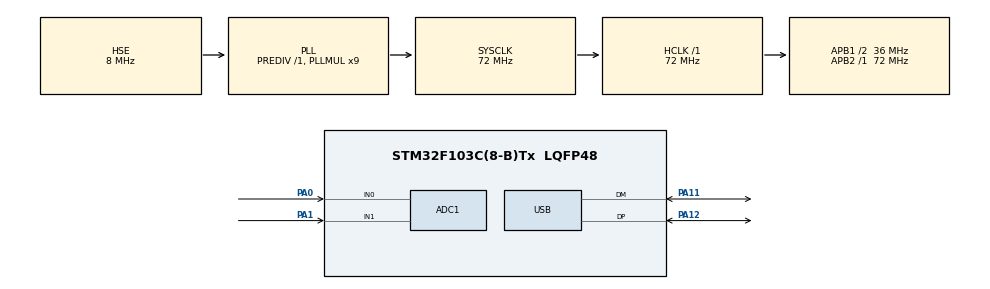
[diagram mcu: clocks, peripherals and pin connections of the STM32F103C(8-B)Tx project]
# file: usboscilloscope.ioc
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ADC1.Channel-2\#ChannelRegularConversion=ADC_CHANNEL_0
ADC1.Channel-3\#ChannelRegularConversion=ADC_CHANNEL_1
ADC1.ContinuousConvMode=ENABLE
ADC1.NbrOfConversion=2
ADC1.NbrOfConversionFlag=1
ADC1.Rank-2\#ChannelRegularConversion=1
ADC1.Rank-3\#ChannelRegularConversion=2
ADC1.SamplingTime-2\#ChannelRegularConversion=ADC_SAMPLETIME_13CYCLES_5
ADC1.SamplingTime-3\#ChannelRegularConversion=ADC_SAMPLETIME_13CYCLES_5
ADC1.master=1
Dma.ADC1.0.Direction=DMA_PERIPH_TO_MEMORY
Dma.ADC1.0.Instance=DMA1_Channel1
Dma.ADC1.0.MemDataAlignment=DMA_MDATAALIGN_HALFWORD
Dma.ADC1.0.MemInc=DMA_MINC_ENABLE
Dma.ADC1.0.Mode=DMA_CIRCULAR
Dma.ADC1.0.PeriphDataAlignment=DMA_PDATAALIGN_HALFWORD
Dma.ADC1.0.PeriphInc=DMA_PINC_DISABLE
Dma.ADC1.0.Priority=DMA_PRIORITY_LOW
Dma.Request0=ADC1
Mcu.Family=STM32F1
Mcu.Name=STM32F103C(8-B)Tx
Mcu.Package=LQFP48
NVIC.DMA1_Channel1_IRQn=true\:0\:0\:false\:false\:true\:false\:true\:true
NVIC.PriorityGroup=NVIC_PRIORITYGROUP_4
NVIC.TIM1_UP_IRQn=true\:15\:0\:false\:false\:true\:false\:true\:true
NVIC.TimeBase=TIM1_UP_IRQn
NVIC.TimeBaseIP=TIM1
NVIC.USB_LP_CAN1_RX0_IRQn=true\:4\:0\:true\:false\:true\:false\:true\:true
PA0-WKUP.Signal=ADCx_IN0
PA1.Signal=ADCx_IN1
PA11.Mode=Device
PA11.Signal=USB_DM
PA12.Mode=Device
PA12.Signal=USB_DP
PC14-OSC32_IN.Mode=LSE-External-Oscillator
PC14-OSC32_IN.Signal=RCC_OSC32_IN
PC15-OSC32_OUT.Mode=LSE-External-Oscillator
PC15-OSC32_OUT.Signal=RCC_OSC32_OUT
PD0-OSC_IN.Mode=HSE-External-Oscillator
PD0-OSC_IN.Signal=RCC_OSC_IN
PD1-OSC_OUT.Mode=HSE-External-Oscillator
PD1-OSC_OUT.Signal=RCC_OSC_OUT
ProjectManager.HeapSize=0x200
ProjectManager.StackSize=0x400
ProjectManager.TargetToolchain=STM32CubeIDE
RCC.ADCPresc=RCC_ADCPCLK2_DIV6
RCC.AHBFreq_Value=72000000
RCC.APB1CLKDivider=RCC_HCLK_DIV2
RCC.APB1Freq_Value=36000000
RCC.APB1TimFreq_Value=72000000
RCC.APB2Freq_Value=72000000
RCC.APB2TimFreq_Value=72000000
RCC.HCLKFreq_Value=72000000
RCC.PLLMUL=RCC_PLL_MUL9
RCC.PLLSourceVirtual=RCC_PLLSOURCE_HSE
RCC.SYSCLKFreq_VALUE=72000000
RCC.SYSCLKSource=RCC_SYSCLKSOURCE_PLLCLK
RCC.USBFreq_Value=48000000
RCC.USBPrescaler=RCC_USBCLKSOURCE_PLL_DIV1_5
SH.ADCx_IN0.0=ADC1_IN0,IN0
SH.ADCx_IN1.0=ADC1_IN1,IN1
USB_DEVICE.CLASS_NAME_FS=CDC
USB_DEVICE.CONFIGURATION_STRING_CDC_FS=YNSRC USB Config
USB_DEVICE.INTERFACE_STRING_CDC_FS=YNSRC USB Interface
USB_DEVICE.MANUFACTURER_STRING=YNSRC Electronics
USB_DEVICE.PRODUCT_STRING_CDC_FS=YNSRC USB Oscilloscope
USB_DEVICE.VID=2025
USB_DEVICE.VirtualMode=Cdc
USB_DEVICE.VirtualModeFS=Cdc_FS
VP_SYS_VS_ND.Mode=No_Debug
VP_SYS_VS_tim1.Mode=TIM1
VP_USB_DEVICE_VS_USB_DEVICE_CDC_FS.Mode=CDC_FS
board=custom

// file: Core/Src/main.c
/* USER CODE BEGIN Header */
/**
  ******************************************************************************
  * @file           : main.c
  * @brief          : Main program body
  ******************************************************************************
  * @attention
  *
  * Copyright (c) 2025 STMicroelectronics.
  * All rights reserved.
  *
  * This software is licensed under terms that can be found in the LICENSE file
  * in the root directory of this software component.
  * If no LICENSE file comes with this software, it is provided AS-IS.
  *
  ******************************************************************************
  */
/* USER CODE END Header */
#include "main.h"
#include "usb_device.h"

/* USER CODE BEGIN Includes */
#include "usbd_cdc_if.h"
#include <stdio.h>
#include <string.h>
/* USER CODE END Includes */

/* USER CODE BEGIN PD */
#define ADC_CHANNEL_COUNT 2
#define SYNC_WORD_HIGH    0xA5
#define SYNC_WORD_LOW     0xA5
#define TX_PACKET_SIZE    (2 + ADC_CHANNEL_COUNT * sizeof(uint16_t))
#define ADC_BUF_LEN (ADC_CHANNEL_COUNT * 2)
/* USER CODE END PD */

ADC_HandleTypeDef hadc1;
DMA_HandleTypeDef hdma_adc1;

/* USER CODE BEGIN PV */
volatile uint16_t adc_buf[ADC_BUF_LEN];
volatile uint8_t data_ready_flag = 0;
volatile uint16_t *data_to_send_ptr = NULL;

uint8_t usb_tx_buf[TX_PACKET_SIZE];
/* USER CODE END PV */

void SystemClock_Config(void);
static void MX_GPIO_Init(void);
static void MX_DMA_Init(void);
static void MX_ADC1_Init(void);

/* USER CODE BEGIN 0 */

/**
  * @brief  Conversion DMA half-transfer callback in non-blocking mode.
  * @param  hadc: ADC handle
  * @retval None
  */
void HAL_ADC_ConvHalfCpltCallback(ADC_HandleTypeDef* hadc)
{
	// Half of the buffer filled. Get ready to send the data in this area.
	data_to_send_ptr = (uint16_t *)adc_buf; // Beginning of the first half part
	data_ready_flag = 1; // Set the first half part ready flag
}

/**
  * @brief  Conversion complete callback in non-blocking mode.
  * @param  hadc: ADC handle
  * @retval None
  */
void HAL_ADC_ConvCpltCallback(ADC_HandleTypeDef* hadc)
{
	// The second half part of buffer filled (buffer filled). Get ready to send.
	data_to_send_ptr = (uint16_t *)&adc_buf[ADC_CHANNEL_COUNT]; // Beginning of the second half part
	data_ready_flag = 2; // Set the second half part ready flag
}

/**
  * @brief  ADC error callback in non-blocking mode
  * @param  hadc: ADC handle
  * @retval None
  */
void HAL_ADC_ErrorCallback(ADC_HandleTypeDef *hadc)
{
  // Error state. Blink a led or log the error.
  Error_Handler();
}

/* USER CODE END 0 */

int main(void)
{

  /* MCU Configuration--------------------------------------------------------*/

  /* Reset of all peripherals, Initializes the Flash interface and the Systick. */
  HAL_Init();

  /* Configure the system clock */
  SystemClock_Config();

  /* Initialize all configured peripherals */
  MX_GPIO_Init();
  MX_DMA_Init();
  MX_ADC1_Init();
  MX_USB_DEVICE_Init();
  /* USER CODE BEGIN 2 */

	// Calibrate ADC (Important! It must be every start to provide certainity)
	if (HAL_ADCEx_Calibration_Start(&hadc1) != HAL_OK)
	{
		Error_Handler();
	}

	// Start ADC with DMA Mode
	// Attention: Buffer size given as (ADC_BUF_LEN)
	if (HAL_ADC_Start_DMA(&hadc1, (uint32_t*)adc_buf, ADC_BUF_LEN) != HAL_OK)
	{
		Error_Handler();
	}

  /* USER CODE END 2 */

  /* Infinite loop */
  while (1)
  {

    /* USER CODE BEGIN 3 */

	// Check to send data
	if (data_ready_flag != 0 && data_to_send_ptr != NULL)
	{
		// Put the sync header to head of buffer
		usb_tx_buf[0] = SYNC_WORD_HIGH;
		usb_tx_buf[1] = SYNC_WORD_LOW;

		// Copy ADC data after sync header
		memcpy(&usb_tx_buf[2], (uint8_t*)data_to_send_ptr, ADC_CHANNEL_COUNT * sizeof(uint16_t));

		// Get ready and send packet
		USBD_StatusTypeDef usb_status;
		uint32_t start_time = HAL_GetTick(); // Add timeout
		do {
			// Size of sending data: TX_PACKET_SIZE
			usb_status = CDC_Transmit_FS(usb_tx_buf, TX_PACKET_SIZE);

			// Timeout check (ex. 100ms) - Do not wait forever if USB not connected
			if (usb_status != USBD_BUSY && HAL_GetTick() - start_time > 100) {
				 // Handle error or timeout
				 break;
			}
		} while (usb_status == USBD_BUSY); // Wait until USB gets ready

		if (usb_status == USBD_OK) {
		  // Transmit completed successfully (or copied to buffer)
		  data_ready_flag = 0; // clear flag
		  data_to_send_ptr = NULL;
		} else {
		   // Error received on transmit (ex. USB not connected), log it or handle error
		}
	}

	// Other works may be done here to prevent 100% CPU wait
	HAL_Delay(1);
  }
  /* USER CODE END 3 */
}

void SystemClock_Config(void)
{
  RCC_OscInitTypeDef RCC_OscInitStruct = {0};
  RCC_ClkInitTypeDef RCC_ClkInitStruct = {0};
  RCC_PeriphCLKInitTypeDef PeriphClkInit = {0};

  /** Initializes the RCC Oscillators according to the specified parameters
  * in the RCC_OscInitTypeDef structure.
  */
  RCC_OscInitStruct.OscillatorType = RCC_OSCILLATORTYPE_HSE;
  RCC_OscInitStruct.HSEState = RCC_HSE_ON;
  RCC_OscInitStruct.HSEPredivValue = RCC_HSE_PREDIV_DIV1;
  RCC_OscInitStruct.HSIState = RCC_HSI_ON;
  RCC_OscInitStruct.PLL.PLLState = RCC_PLL_ON;
  RCC_OscInitStruct.PLL.PLLSource = RCC_PLLSOURCE_HSE;
  RCC_OscInitStruct.PLL.PLLMUL = RCC_PLL_MUL9;
  if (HAL_RCC_OscConfig(&RCC_OscInitStruct) != HAL_OK)
  {
    Error_Handler();
  }

  /** Initializes the CPU, AHB and APB buses clocks
  */
  RCC_ClkInitStruct.ClockType = RCC_CLOCKTYPE_HCLK|RCC_CLOCKTYPE_SYSCLK
                              |RCC_CLOCKTYPE_PCLK1|RCC_CLOCKTYPE_PCLK2;
  RCC_ClkInitStruct.SYSCLKSource = RCC_SYSCLKSOURCE_PLLCLK;
  RCC_ClkInitStruct.AHBCLKDivider = RCC_SYSCLK_DIV1;
  RCC_ClkInitStruct.APB1CLKDivider = RCC_HCLK_DIV2;
  RCC_ClkInitStruct.APB2CLKDivider = RCC_HCLK_DIV1;

  if (HAL_RCC_ClockConfig(&RCC_ClkInitStruct, FLASH_LATENCY_2) != HAL_OK)
  {
    Error_Handler();
  }
  PeriphClkInit.PeriphClockSelection = RCC_PERIPHCLK_ADC|RCC_PERIPHCLK_USB;
  PeriphClkInit.AdcClockSelection = RCC_ADCPCLK2_DIV6;
  PeriphClkInit.UsbClockSelection = RCC_USBCLKSOURCE_PLL_DIV1_5;
  if (HAL_RCCEx_PeriphCLKConfig(&PeriphClkInit) != HAL_OK)
  {
    Error_Handler();
  }
}

static void MX_ADC1_Init(void)
{

  ADC_ChannelConfTypeDef sConfig = {0};

  /** Common config
  */
  hadc1.Instance = ADC1;
  hadc1.Init.ScanConvMode = ADC_SCAN_ENABLE;
  hadc1.Init.ContinuousConvMode = ENABLE;
  hadc1.Init.DiscontinuousConvMode = DISABLE;
  hadc1.Init.ExternalTrigConv = ADC_SOFTWARE_START;
  hadc1.Init.DataAlign = ADC_DATAALIGN_RIGHT;
  hadc1.Init.NbrOfConversion = 2;
  if (HAL_ADC_Init(&hadc1) != HAL_OK)
  {
    Error_Handler();
  }

  /** Configure Regular Channel
  */
  sConfig.Channel = ADC_CHANNEL_0;
  sConfig.Rank = ADC_REGULAR_RANK_1;
  sConfig.SamplingTime = ADC_SAMPLETIME_13CYCLES_5;
  if (HAL_ADC_ConfigChannel(&hadc1, &sConfig) != HAL_OK)
  {
    Error_Handler();
  }

  /** Configure Regular Channel
  */
  sConfig.Channel = ADC_CHANNEL_1;
  sConfig.Rank = ADC_REGULAR_RANK_2;
  if (HAL_ADC_ConfigChannel(&hadc1, &sConfig) != HAL_OK)
  {
    Error_Handler();
  }

}

static void MX_DMA_Init(void)
{

  /* DMA controller clock enable */
  __HAL_RCC_DMA1_CLK_ENABLE();

  /* DMA interrupt init */
  /* DMA1_Channel1_IRQn interrupt configuration */
  HAL_NVIC_SetPriority(DMA1_Channel1_IRQn, 0, 0);
  HAL_NVIC_EnableIRQ(DMA1_Channel1_IRQn);

}

static void MX_GPIO_Init(void)
{

  /* GPIO Ports Clock Enable */
  __HAL_RCC_GPIOC_CLK_ENABLE();
  __HAL_RCC_GPIOD_CLK_ENABLE();
  __HAL_RCC_GPIOA_CLK_ENABLE();

}

void HAL_TIM_PeriodElapsedCallback(TIM_HandleTypeDef *htim)
{
  if (htim->Instance == TIM1)
  {
    HAL_IncTick();
  }
}

void Error_Handler(void)
{
  __disable_irq();
  while (1)
  {
  }
}
